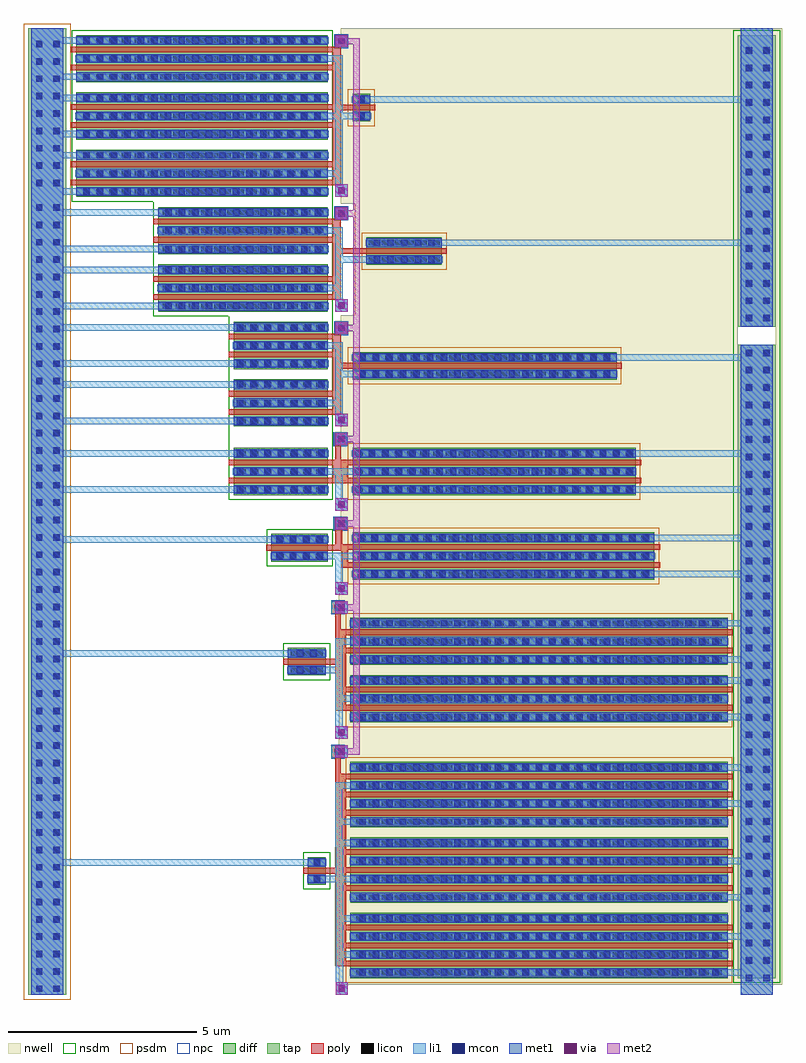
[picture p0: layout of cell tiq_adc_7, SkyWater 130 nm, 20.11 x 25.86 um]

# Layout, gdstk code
from math import pi, radians
import gdstk
lib = gdstk.Library(unit=1e-6, precision=1e-09)
def R(c, l, rs):  # rectangles x0, y0, x1, y1
    for r in rs: c.add(gdstk.rectangle(r[:2], r[2:], *l))
def A(c, l, x, y, w, h, nx, ny, dx, dy):  # array of equal rectangles
    R(c, l, [(x+i*dx, y+j*dy, x+i*dx+w, y+j*dy+h) for i in range(nx) for j in range(ny)])
nwell = (64, 20)
diff = (65, 20)
tap = (65, 44)
poly = (66, 20)
licon = (66, 44)
li1 = (67, 20)
mcon = (67, 44)
met1 = (68, 20)
via = (68, 44)
met2 = (69, 20)
nsdm = (93, 44)
psdm = (94, 20)
npc = (95, 20)

sky130_fd_pr__pfet_01v8_ = lib.new_cell('sky130_fd_pr__pfet_01v8_WGHLR5')
R(sky130_fd_pr__pfet_01v8_, nwell, [(-1.045,-5.31,1.045,5.31)])
R(sky130_fd_pr__pfet_01v8_, diff, [(-0.865,-5,0.865,5)])
A(sky130_fd_pr__pfet_01v8_, poly, -0.555, -5.13, 0.15, 10.26, 3, 1, 0.48, 0)
R(sky130_fd_pr__pfet_01v8_, poly, [(-0.555,-5.28,0.555,-5.13)])
A(sky130_fd_pr__pfet_01v8_, licon, -0.805, -4.845, 0.17, 0.17, 4, 29, 0.48, 0.34)
A(sky130_fd_pr__pfet_01v8_, li1, -0.805, -5.02, 0.17, 10.04, 4, 1, 0.48, 0)
A(sky130_fd_pr__pfet_01v8_, mcon, -0.805, -4.765, 0.17, 0.17, 4, 27, 0.48, 0.36)
A(sky130_fd_pr__pfet_01v8_, met1, -0.835, -5, 0.23, 10, 4, 1, 0.48, 0)
R(sky130_fd_pr__pfet_01v8_, psdm, [(-0.99,-5.125,0.99,5.125)])

sky130_fd_pr__nfet_01v8_ = lib.new_cell('sky130_fd_pr__nfet_01v8_PD6K7A')
R(sky130_fd_pr__nfet_01v8_, diff, [(-0.365,-0.235,0.365,0.235)])
R(sky130_fd_pr__nfet_01v8_, poly, [(-0.075,-0.365,0.075,0.365)])
R(sky130_fd_pr__nfet_01v8_, licon, [(-0.305,-0.085,-0.135,0.085), (0.135,-0.085,0.305,0.085)])
R(sky130_fd_pr__nfet_01v8_, li1, [(-0.305,-0.255,-0.135,0.255), (0.135,-0.255,0.305,0.255)])
R(sky130_fd_pr__nfet_01v8_, mcon, [(-0.305,-0.085,-0.135,0.085), (0.135,-0.085,0.305,0.085)])
R(sky130_fd_pr__nfet_01v8_, met1, [(-0.335,-0.235,-0.105,0.235), (0.105,-0.235,0.335,0.235)])
R(sky130_fd_pr__nfet_01v8_, nsdm, [(-0.49,-0.36,0.49,0.36)])

inverter_p90_n0o47 = lib.new_cell('inverter_p90_n0o47')
R(inverter_p90_n0o47, nwell, [(-2.96,0.99,-2.88,1.08), (-2.46,11.27,-2.29,11.43), (-1.5,11.27,-1.33,11.43), (0.02,11.27,0.19,11.43), (0.98,11.27,1.15,11.43), (2.02,11.27,2.19,11.43), (2.98,11.27,3.15,11.43), (-2.56,11.43,3.24,11.56), (-2.7,11.56,3.39,12.7)])
R(inverter_p90_n0o47, tap, [(-3.19,-7.28,3.65,-6.28), (-2.52,11.52,3.21,12.52)])
R(inverter_p90_n0o47, poly, [(0.29,0.73,0.44,0.85), (-2.96,0.76,-2.63,0.85), (-2.96,0.85,2.9,0.97), (-2.96,0.97,-1.97,1), (-1.1,0.97,-0.21,1.12), (0.9,0.97,1.79,1.12), (-2.96,1,-2.63,1.09)])
A(inverter_p90_n0o47, licon, -3.035, -7.075, 0.17, 0.17, 15, 2, 0.46, 0.46)
A(inverter_p90_n0o47, licon, -2.405, 11.735, 0.17, 0.17, 12, 2, 0.46, 0.46)
R(inverter_p90_n0o47, licon, [(-2.88,0.84,-2.71,1.01)])
R(inverter_p90_n0o47, li1, [(-3.19,-7.2,3.65,-6.36), (0.06,-6.36,0.23,0.11), (0.5,0.62,0.67,0.86), (-2.96,0.76,-2.63,1.18), (-1.98,0.85,-0.27,0.86), (-1.98,0.86,3.65,1.04), (-1.98,1.04,-1.81,1.23), (-1.02,1.04,-0.85,1.23), (-0.46,1.04,3.65,1.06), (-0.46,1.06,-0.29,1.23), (0.5,1.06,0.67,1.23), (1.54,1.06,1.71,1.23), (2.5,1.06,2.67,1.23), (3.32,1.06,3.65,1.19), (-2.46,11.27,-2.29,11.59), (-1.5,11.27,-1.33,11.59), (0.02,11.27,0.19,11.59), (0.98,11.27,1.15,11.59), (2.02,11.27,2.19,11.59), (2.98,11.27,3.15,11.59), (-2.96,11.59,3.65,12.45)])
A(inverter_p90_n0o47, mcon, -3.035, -7.075, 0.17, 0.17, 15, 2, 0.46, 0.46)
A(inverter_p90_n0o47, mcon, -2.865, 11.735, 0.17, 0.17, 14, 2, 0.46, 0.46)
R(inverter_p90_n0o47, mcon, [(-2.88,0.93,-2.71,1.1), (3.4,0.94,3.57,1.11)])
R(inverter_p90_n0o47, met1, [(-3.19,-7.2,3.65,-6.36), (-2.96,0.85,-2.63,1.18), (3.32,0.86,3.65,1.19), (-2.96,11.59,3.65,12.45)])
R(inverter_p90_n0o47, nsdm, [(-2.645,11.395,3.335,12.645)])
R(inverter_p90_n0o47, psdm, [(-3.315,-7.405,3.775,-6.155), (-0.665,1.125,-0.645,11.375), (1.335,1.125,1.355,11.375)])
R(inverter_p90_n0o47, npc, [(-2.98,0.74,-2.61,1.11)])
inverter_p90_n0o47.add(gdstk.Reference(sky130_fd_pr__pfet_01v8_, (2.345,6.25)))
inverter_p90_n0o47.add(gdstk.Reference(sky130_fd_pr__pfet_01v8_, (0.345,6.25)))
inverter_p90_n0o47.add(gdstk.Reference(sky130_fd_pr__pfet_01v8_, (-1.655,6.25)))
inverter_p90_n0o47.add(gdstk.Reference(sky130_fd_pr__nfet_01v8_, (0.365,0.365)))

c_sky130_fd_pr__pfet_01v8_ = lib.new_cell('sky130_fd_pr__pfet_01v8_WELYR5')
R(c_sky130_fd_pr__pfet_01v8_, nwell, [(-0.805,-5.31,0.805,5.31)])
R(c_sky130_fd_pr__pfet_01v8_, diff, [(-0.625,-5,0.625,5)])
R(c_sky130_fd_pr__pfet_01v8_, poly, [(-0.315,-5.28,0.315,-5.13), (-0.315,-5.13,-0.165,5.13), (0.165,-5.13,0.315,5.13)])
A(c_sky130_fd_pr__pfet_01v8_, licon, -0.565, -4.845, 0.17, 0.17, 3, 29, 0.48, 0.34)
A(c_sky130_fd_pr__pfet_01v8_, li1, -0.565, -5.02, 0.17, 10.04, 3, 1, 0.48, 0)
A(c_sky130_fd_pr__pfet_01v8_, mcon, -0.565, -4.765, 0.17, 0.17, 3, 27, 0.48, 0.36)
A(c_sky130_fd_pr__pfet_01v8_, met1, -0.595, -5, 0.23, 10, 3, 1, 0.48, 0)
R(c_sky130_fd_pr__pfet_01v8_, psdm, [(-0.75,-5.125,0.75,5.125)])

c_sky130_fd_pr__nfet_01v8_ = lib.new_cell('sky130_fd_pr__nfet_01v8_QDUU3W')
R(c_sky130_fd_pr__nfet_01v8_, diff, [(-0.365,-0.5,0.365,0.5)])
R(c_sky130_fd_pr__nfet_01v8_, poly, [(-0.075,-0.63,0.075,0.63)])
A(c_sky130_fd_pr__nfet_01v8_, licon, -0.305, -0.425, 0.17, 0.17, 1, 3, 0, 0.34)
A(c_sky130_fd_pr__nfet_01v8_, licon, 0.135, -0.425, 0.17, 0.17, 1, 3, 0, 0.34)
R(c_sky130_fd_pr__nfet_01v8_, li1, [(-0.305,-0.52,-0.135,0.52), (0.135,-0.52,0.305,0.52)])
R(c_sky130_fd_pr__nfet_01v8_, mcon, [(-0.305,-0.265,-0.135,-0.095), (0.135,-0.265,0.305,-0.095), (-0.305,0.095,-0.135,0.265), (0.135,0.095,0.305,0.265)])
R(c_sky130_fd_pr__nfet_01v8_, met1, [(-0.335,-0.5,-0.105,0.5), (0.105,-0.5,0.335,0.5)])
R(c_sky130_fd_pr__nfet_01v8_, nsdm, [(-0.49,-0.625,0.49,0.625)])

inverter_p40_n1 = lib.new_cell('inverter_p40_n1')
R(inverter_p40_n1, nwell, [(0.14,1.5,1.03,1.65), (-1.24,1.51,-1.16,1.59), (2.33,1.51,2.41,1.59), (-0.74,11.8,-0.57,11.97), (0.22,11.8,0.39,11.97), (0.78,11.8,0.95,11.97), (1.74,11.8,1.91,11.97), (-0.98,11.97,2.15,12.05), (-0.74,12.05,-0.57,12.09), (0.22,12.05,0.39,12.09), (0.78,12.05,0.95,12.09), (1.74,12.05,1.91,12.09), (-0.98,12.09,2.15,13.23)])
R(inverter_p40_n1, tap, [(-1.24,-6.75,2.35,-5.75), (-0.8,12.05,1.97,13.05)])
R(inverter_p40_n1, poly, [(0.29,1.26,0.44,1.38), (-1.24,1.29,-0.91,1.38), (-1.24,1.38,1.66,1.5), (-1.24,1.5,1.03,1.53), (-1.24,1.53,-0.91,1.62), (0.14,1.53,1.03,1.65)])
A(inverter_p40_n1, licon, -1.175, -6.545, 0.17, 0.17, 8, 2, 0.46, 0.46)
A(inverter_p40_n1, licon, -0.545, 12.265, 0.17, 0.17, 6, 2, 0.46, 0.46)
R(inverter_p40_n1, licon, [(-1.16,1.37,-0.99,1.54)])
R(inverter_p40_n1, li1, [(-1.24,-6.67,2.35,-5.83), (0.06,-5.83,0.23,0.11), (0.5,1.15,0.67,1.38), (-1.24,1.29,-0.91,1.71), (-0.26,1.38,2.41,1.58), (-0.26,1.58,-0.09,1.84), (1.26,1.58,1.43,1.76), (2.08,1.58,2.41,1.71), (-0.74,11.8,-0.57,12.12), (0.22,11.8,0.39,12.12), (0.78,11.8,0.95,12.12), (1.74,11.8,1.91,12.12), (-1.24,12.12,2.58,12.98)])
A(inverter_p40_n1, mcon, -1.175, -6.545, 0.17, 0.17, 8, 2, 0.46, 0.46)
A(inverter_p40_n1, mcon, -1.005, 12.265, 0.17, 0.17, 7, 2, 0.46, 0.46)
R(inverter_p40_n1, mcon, [(-1.16,1.46,-0.99,1.63), (2.16,1.46,2.33,1.63)])
R(inverter_p40_n1, met1, [(-1.24,-6.67,2.35,-5.83), (-1.24,1.38,-0.91,1.71), (2.08,1.38,2.41,1.71), (-1.24,12.12,2.58,12.98)])
R(inverter_p40_n1, nsdm, [(-0.925,11.925,2.095,13.175)])
R(inverter_p40_n1, psdm, [(-1.365,-6.875,2.475,-5.625), (0.575,1.655,0.595,11.905)])
R(inverter_p40_n1, npc, [(-1.26,1.27,-0.89,1.64)])
inverter_p40_n1.add(gdstk.Reference(c_sky130_fd_pr__pfet_01v8_, (1.345,6.78)))
inverter_p40_n1.add(gdstk.Reference(c_sky130_fd_pr__pfet_01v8_, (-0.175,6.78)))
inverter_p40_n1.add(gdstk.Reference(c_sky130_fd_pr__nfet_01v8_, (0.365,0.63)))

c_sky130_fd_pr__pfet_01v8__ = lib.new_cell('sky130_fd_pr__pfet_01v8_N885V5')
R(c_sky130_fd_pr__pfet_01v8__, nwell, [(-0.805,-4.31,0.805,4.31)])
R(c_sky130_fd_pr__pfet_01v8__, diff, [(-0.625,-4,0.625,4)])
R(c_sky130_fd_pr__pfet_01v8__, poly, [(-0.315,-4.28,0.315,-4.13), (-0.315,-4.13,-0.165,4.15), (0.165,-4.13,0.315,4.15)])
A(c_sky130_fd_pr__pfet_01v8__, licon, -0.565, -3.825, 0.17, 0.17, 3, 23, 0.48, 0.34)
A(c_sky130_fd_pr__pfet_01v8__, li1, -0.565, -4.02, 0.17, 8.04, 3, 1, 0.48, 0)
A(c_sky130_fd_pr__pfet_01v8__, mcon, -0.565, -3.865, 0.17, 0.17, 3, 22, 0.48, 0.36)
A(c_sky130_fd_pr__pfet_01v8__, met1, -0.595, -4, 0.23, 8, 3, 1, 0.48, 0)
R(c_sky130_fd_pr__pfet_01v8__, psdm, [(-0.75,-4.125,0.75,4.125)])

c_sky130_fd_pr__nfet_01v8__ = lib.new_cell('sky130_fd_pr__nfet_01v8_PZUUQ8')
R(c_sky130_fd_pr__nfet_01v8__, diff, [(-0.365,-0.75,0.365,0.75)])
R(c_sky130_fd_pr__nfet_01v8__, poly, [(-0.075,-0.88,0.075,0.88)])
A(c_sky130_fd_pr__nfet_01v8__, licon, -0.305, -0.595, 0.17, 0.17, 1, 4, 0, 0.34)
A(c_sky130_fd_pr__nfet_01v8__, licon, 0.135, -0.595, 0.17, 0.17, 1, 4, 0, 0.34)
R(c_sky130_fd_pr__nfet_01v8__, li1, [(-0.305,-0.77,-0.135,0.77), (0.135,-0.77,0.305,0.77)])
A(c_sky130_fd_pr__nfet_01v8__, mcon, -0.305, -0.625, 0.17, 0.17, 1, 4, 0, 0.36)
A(c_sky130_fd_pr__nfet_01v8__, mcon, 0.135, -0.625, 0.17, 0.17, 1, 4, 0, 0.36)
R(c_sky130_fd_pr__nfet_01v8__, met1, [(-0.335,-0.75,-0.105,0.75), (0.105,-0.75,0.335,0.75)])
R(c_sky130_fd_pr__nfet_01v8__, nsdm, [(-0.49,-0.875,0.49,0.875)])

inverter_p16_n1o5 = lib.new_cell('inverter_p16_n1o5')
R(inverter_p16_n1o5, nwell, [(1.53,1.94,1.61,2.01), (0.02,10.3,0.19,10.54), (0.98,10.3,1.15,10.54), (-0.22,10.54,1.39,10.55), (0.02,10.55,0.19,10.58), (0.98,10.55,1.15,10.58), (-0.22,10.58,1.39,13.67)])
R(inverter_p16_n1o5, tap, [(-0.44,-6.31,1.61,-5.31), (-0.04,12.49,1.21,13.49)])
R(inverter_p16_n1o5, poly, [(0.29,1.76,0.44,1.82), (-0.44,1.79,-0.11,1.82), (-0.44,1.82,0.44,2.01), (-0.44,2.01,-0.11,2.12)])
A(inverter_p16_n1o5, licon, 0.005, -6.105, 0.17, 0.17, 4, 2, 0.46, 0.46)
R(inverter_p16_n1o5, licon, [(-0.36,1.87,-0.19,2.04), (0.175,12.705,0.345,12.875), (0.635,12.705,0.805,12.875), (0.175,13.165,0.345,13.335), (0.635,13.165,0.805,13.335)])
R(inverter_p16_n1o5, li1, [(-0.44,-6.23,1.61,-5.39), (0.06,-5.39,0.23,0.11), (0.5,1.65,0.67,1.82), (-0.44,1.79,-0.11,2.12), (0.5,1.82,1.61,2.02), (0.5,2.02,0.67,2.26), (1.28,2.02,1.61,2.15), (0.02,10.3,0.19,12.56), (0.98,10.3,1.15,12.56), (-0.22,12.56,1.39,13.42)])
A(inverter_p16_n1o5, mcon, 0.005, -6.105, 0.17, 0.17, 4, 2, 0.46, 0.46)
A(inverter_p16_n1o5, mcon, 0.175, 12.705, 0.17, 0.17, 3, 2, 0.46, 0.46)
R(inverter_p16_n1o5, mcon, [(-0.36,1.9,-0.19,2.07), (1.36,1.9,1.53,2.07)])
R(inverter_p16_n1o5, met1, [(-0.44,-6.23,1.61,-5.39), (-0.44,1.82,-0.11,2.15), (1.28,1.82,1.61,2.15), (-0.22,12.56,1.39,13.42)])
R(inverter_p16_n1o5, nsdm, [(-0.165,12.365,1.335,13.615)])
R(inverter_p16_n1o5, psdm, [(-0.565,-6.435,1.735,-5.185)])
R(inverter_p16_n1o5, npc, [(-0.46,1.77,-0.09,2.14)])
inverter_p16_n1o5.add(gdstk.Reference(c_sky130_fd_pr__pfet_01v8__, (0.585,6.28)))
inverter_p16_n1o5.add(gdstk.Reference(c_sky130_fd_pr__nfet_01v8__, (0.365,0.88)))

c_sky130_fd_pr__pfet_01v8___ = lib.new_cell('sky130_fd_pr__pfet_01v8_7QKTNL')
R(c_sky130_fd_pr__pfet_01v8___, nwell, [(-0.805,-4.06,0.805,4.06)])
R(c_sky130_fd_pr__pfet_01v8___, diff, [(-0.625,-3.75,0.625,3.75)])
R(c_sky130_fd_pr__pfet_01v8___, poly, [(-0.315,-4.03,0.315,-3.88), (-0.315,-3.88,-0.165,3.9), (0.165,-3.88,0.315,3.9)])
A(c_sky130_fd_pr__pfet_01v8___, licon, -0.565, -3.655, 0.17, 0.17, 3, 22, 0.48, 0.34)
A(c_sky130_fd_pr__pfet_01v8___, li1, -0.565, -3.77, 0.17, 7.54, 3, 1, 0.48, 0)
A(c_sky130_fd_pr__pfet_01v8___, mcon, -0.565, -3.685, 0.17, 0.17, 3, 21, 0.48, 0.36)
A(c_sky130_fd_pr__pfet_01v8___, met1, -0.595, -3.75, 0.23, 7.5, 3, 1, 0.48, 0)
R(c_sky130_fd_pr__pfet_01v8___, psdm, [(-0.75,-3.875,0.75,3.875)])

c_sky130_fd_pr__nfet_01v8___ = lib.new_cell('sky130_fd_pr__nfet_01v8_V2VUT3')
R(c_sky130_fd_pr__nfet_01v8___, diff, [(-0.625,-1.25,0.625,1.25)])
R(c_sky130_fd_pr__nfet_01v8___, poly, [(-0.315,-1.38,-0.165,1.38), (0.165,-1.38,0.315,1.38), (-0.315,1.38,0.315,1.53)])
A(c_sky130_fd_pr__nfet_01v8___, licon, -0.565, -1.105, 0.17, 0.17, 3, 7, 0.48, 0.34)
A(c_sky130_fd_pr__nfet_01v8___, li1, -0.565, -1.27, 0.17, 2.54, 3, 1, 0.48, 0)
A(c_sky130_fd_pr__nfet_01v8___, mcon, -0.565, -1.165, 0.17, 0.17, 3, 7, 0.48, 0.36)
A(c_sky130_fd_pr__nfet_01v8___, met1, -0.595, -1.25, 0.23, 2.5, 3, 1, 0.48, 0)
R(c_sky130_fd_pr__nfet_01v8___, nsdm, [(-0.75,-1.375,0.75,1.375)])

inverter_p15_n5 = lib.new_cell('inverter_p15_n5')
R(inverter_p15_n5, nwell, [(-0.4,3.28,1.67,14.98)])
R(inverter_p15_n5, tap, [(-0.41,-5,1.67,-4), (0,13.8,1.26,14.8)])
R(inverter_p15_n5, poly, [(-0.4,3.1,-0.07,3.13), (-0.4,3.13,0.31,3.22), (-0.4,3.22,0.94,3.28), (-0.4,3.28,-0.07,3.43), (0.31,3.28,0.94,3.31)])
A(inverter_p15_n5, licon, -0.015, -4.795, 0.17, 0.17, 4, 2, 0.46, 0.46)
R(inverter_p15_n5, licon, [(-0.32,3.18,-0.15,3.35), (0.155,14.015,0.325,14.185), (0.615,14.015,0.785,14.185), (0.155,14.475,0.325,14.645), (0.615,14.475,0.785,14.645)])
R(inverter_p15_n5, li1, [(-0.4,-4.92,1.67,-4.08), (0.06,-4.08,0.23,0.42), (1.02,-4.08,1.19,0.42), (0.54,2.96,0.71,3.13), (-0.4,3.1,-0.07,3.43), (0.54,3.13,1.67,3.33), (0.54,3.33,0.71,3.57), (1.34,3.33,1.67,3.46), (0.06,11.11,0.23,13.87), (1.02,11.11,1.19,13.87), (-0.4,13.87,1.67,14.73)])
A(inverter_p15_n5, mcon, -0.015, -4.795, 0.17, 0.17, 4, 2, 0.46, 0.46)
A(inverter_p15_n5, mcon, -0.305, 14.015, 0.17, 0.17, 4, 2, 0.46, 0.46)
R(inverter_p15_n5, mcon, [(-0.32,3.21,-0.15,3.38), (1.42,3.21,1.59,3.38)])
R(inverter_p15_n5, met1, [(-0.4,-4.92,1.67,-4.08), (-0.4,3.13,-0.07,3.46), (1.34,3.13,1.67,3.46), (-0.4,13.87,1.67,14.73)])
R(inverter_p15_n5, nsdm, [(-0.125,13.675,1.385,14.925)])
R(inverter_p15_n5, psdm, [(-0.535,-5.125,1.795,-3.875)])
R(inverter_p15_n5, npc, [(-0.42,3.08,-0.05,3.45)])
inverter_p15_n5.add(gdstk.Reference(c_sky130_fd_pr__pfet_01v8___, (0.625,7.34)))
inverter_p15_n5.add(gdstk.Reference(c_sky130_fd_pr__nfet_01v8___, (0.625,1.69)))

c_sky130_fd_pr__pfet_01v8____ = lib.new_cell('sky130_fd_pr__pfet_01v8_VGLYR5')
R(c_sky130_fd_pr__pfet_01v8____, nwell, [(-0.545,-3.81,0.545,3.81)])
R(c_sky130_fd_pr__pfet_01v8____, diff, [(-0.365,-3.5,0.365,3.5)])
R(c_sky130_fd_pr__pfet_01v8____, poly, [(-0.075,-3.63,0.075,3.63)])
A(c_sky130_fd_pr__pfet_01v8____, licon, -0.305, -3.315, 0.17, 0.17, 1, 20, 0, 0.34)
A(c_sky130_fd_pr__pfet_01v8____, licon, 0.135, -3.315, 0.17, 0.17, 1, 20, 0, 0.34)
R(c_sky130_fd_pr__pfet_01v8____, li1, [(-0.305,-3.52,-0.135,3.52), (0.135,-3.52,0.305,3.52)])
A(c_sky130_fd_pr__pfet_01v8____, mcon, -0.305, -3.325, 0.17, 0.17, 1, 19, 0, 0.36)
A(c_sky130_fd_pr__pfet_01v8____, mcon, 0.135, -3.325, 0.17, 0.17, 1, 19, 0, 0.36)
R(c_sky130_fd_pr__pfet_01v8____, met1, [(-0.335,-3.5,-0.105,3.5), (0.105,-3.5,0.335,3.5)])
R(c_sky130_fd_pr__pfet_01v8____, psdm, [(-0.49,-3.625,0.49,3.625)])

inverter_p7_n10 = lib.new_cell('inverter_p7_n10')
R(inverter_p7_n10, nwell, [(-0.18,3.28,2.95,10.86), (-0.18,10.86,2.94,13.8), (-0.18,13.8,0.13,14.8), (0.61,13.8,2.94,14.8), (-0.18,14.8,2.94,14.98)])
R(inverter_p7_n10, tap, [(0,-5,2.77,-4), (0,13.8,0.13,14.8), (0.61,13.8,2.77,14.8)])
R(inverter_p7_n10, poly, [(0.94,3.07,1.83,3.22), (0,3.13,0.33,3.22), (0,3.22,2.46,3.28), (0,3.28,0.33,3.46), (1.09,3.28,1.24,3.46)])
A(inverter_p7_n10, licon, 0.105, -4.795, 0.17, 0.17, 6, 2, 0.46, 0.46)
A(inverter_p7_n10, licon, 0.735, 14.015, 0.17, 0.17, 4, 2, 0.46, 0.46)
R(inverter_p7_n10, licon, [(0.08,3.21,0.25,3.38)])
R(inverter_p7_n10, li1, [(-0.18,-4.92,2.94,-4.08), (0.06,-4.08,0.23,0.42), (1.02,-4.08,1.19,0.42), (1.58,-4.08,1.75,0.42), (2.54,-4.08,2.71,0.42), (0.54,2.88,0.71,3.13), (2.06,2.96,2.23,3.13), (0,3.13,0.33,3.46), (0.54,3.13,2.77,3.33), (1.3,3.33,1.47,3.57), (2.44,3.33,2.77,3.46), (0.86,10.53,1.03,13.87), (-0.18,13.87,0.13,14.73), (0.61,13.87,2.95,14.73)])
A(inverter_p7_n10, mcon, 0.105, -4.795, 0.17, 0.17, 6, 2, 0.46, 0.46)
A(inverter_p7_n10, mcon, 0.735, 14.015, 0.17, 0.17, 5, 2, 0.46, 0.46)
R(inverter_p7_n10, mcon, [(0.08,3.21,0.25,3.38), (2.52,3.21,2.69,3.38)])
R(inverter_p7_n10, met1, [(-0.18,-4.92,2.94,-4.08), (0,3.13,0.33,3.46), (2.44,3.13,2.77,3.46), (-0.18,13.87,0.13,14.73), (0.61,13.87,2.95,14.73)])
R(inverter_p7_n10, nsdm, [(1.375,0.315,1.395,3.065), (-0.125,13.675,2.895,14.925)])
R(inverter_p7_n10, psdm, [(-0.125,-5.125,2.895,-3.875)])
R(inverter_p7_n10, npc, [(-0.02,3.11,0.35,3.48)])
inverter_p7_n10.add(gdstk.Reference(c_sky130_fd_pr__pfet_01v8____, (1.165,7.09)))
inverter_p7_n10.add(gdstk.Reference(c_sky130_fd_pr__nfet_01v8___, (2.145,1.69)))
inverter_p7_n10.add(gdstk.Reference(c_sky130_fd_pr__nfet_01v8___, (0.625,1.69)))

c_sky130_fd_pr__pfet_01v8_____ = lib.new_cell('sky130_fd_pr__pfet_01v8_UCB5V5')
R(c_sky130_fd_pr__pfet_01v8_____, nwell, [(-0.545,-1.31,0.545,1.31)])
R(c_sky130_fd_pr__pfet_01v8_____, diff, [(-0.365,-1,0.365,1)])
R(c_sky130_fd_pr__pfet_01v8_____, poly, [(-0.075,-1.13,0.075,1.13)])
A(c_sky130_fd_pr__pfet_01v8_____, licon, -0.305, -0.935, 0.17, 0.17, 1, 6, 0, 0.34)
A(c_sky130_fd_pr__pfet_01v8_____, licon, 0.135, -0.935, 0.17, 0.17, 1, 6, 0, 0.34)
R(c_sky130_fd_pr__pfet_01v8_____, li1, [(-0.305,-1.02,-0.135,1.02), (0.135,-1.02,0.305,1.02)])
A(c_sky130_fd_pr__pfet_01v8_____, mcon, -0.305, -0.805, 0.17, 0.17, 1, 5, 0, 0.36)
A(c_sky130_fd_pr__pfet_01v8_____, mcon, 0.135, -0.805, 0.17, 0.17, 1, 5, 0, 0.36)
R(c_sky130_fd_pr__pfet_01v8_____, met1, [(-0.335,-1,-0.105,1), (0.105,-1,0.335,1)])
R(c_sky130_fd_pr__pfet_01v8_____, psdm, [(-0.49,-1.125,0.49,1.125)])

c_sky130_fd_pr__nfet_01v8____ = lib.new_cell('sky130_fd_pr__nfet_01v8_QQ9VTX')
R(c_sky130_fd_pr__nfet_01v8____, diff, [(-0.625,-2.25,0.625,2.25)])
R(c_sky130_fd_pr__nfet_01v8____, poly, [(-0.315,-2.38,-0.165,2.38), (0.165,-2.38,0.315,2.38), (-0.315,2.38,0.315,2.53)])
A(c_sky130_fd_pr__nfet_01v8____, licon, -0.565, -2.125, 0.17, 0.17, 3, 13, 0.48, 0.34)
A(c_sky130_fd_pr__nfet_01v8____, li1, -0.565, -2.27, 0.17, 4.54, 3, 1, 0.48, 0)
A(c_sky130_fd_pr__nfet_01v8____, mcon, -0.565, -2.065, 0.17, 0.17, 3, 12, 0.48, 0.36)
A(c_sky130_fd_pr__nfet_01v8____, met1, -0.595, -2.25, 0.23, 4.5, 3, 1, 0.48, 0)
R(c_sky130_fd_pr__nfet_01v8____, nsdm, [(-0.75,-2.375,0.75,2.375)])

inverter_p2_n18 = lib.new_cell('inverter_p2_n18')
R(inverter_p2_n18, nwell, [(-0.18,5.65,2.95,8.23), (0.86,8.23,1.03,15.8), (0,15.8,2.77,15.87), (-0.18,15.87,2.95,16.73), (0,16.73,2.77,16.8)])
R(inverter_p2_n18, tap, [(0,-3,2.95,-2), (0,15.8,2.77,16.8)])
R(inverter_p2_n18, poly, [(0.94,5.07,1.83,5.22), (0,5.13,0.33,5.22), (0,5.22,2.46,5.28), (0,5.28,0.33,5.46), (1.09,5.28,1.24,5.83)])
A(inverter_p2_n18, licon, 0.385, -2.795, 0.17, 0.17, 6, 2, 0.46, 0.46)
A(inverter_p2_n18, licon, 0.095, 16.015, 0.17, 0.17, 6, 2, 0.46, 0.46)
R(inverter_p2_n18, licon, [(0.08,5.21,0.25,5.38)])
R(inverter_p2_n18, li1, [(0,-2.92,2.95,-2.08), (0.06,-2.08,0.23,0.42), (1.02,-2.08,1.19,0.42), (1.58,-2.08,1.75,0.42), (2.54,-2.08,2.71,0.42), (0.54,4.96,0.71,5.13), (2.06,4.96,2.23,5.13), (0,5.13,0.33,5.46), (0.54,5.13,2.77,5.33), (1.3,5.33,1.47,5.94), (2.44,5.33,2.77,5.46), (0.86,7.98,1.03,15.87), (-0.18,15.87,2.95,16.73)])
A(inverter_p2_n18, mcon, 0.385, -2.795, 0.17, 0.17, 6, 2, 0.46, 0.46)
A(inverter_p2_n18, mcon, 0.095, 16.015, 0.17, 0.17, 6, 2, 0.46, 0.46)
R(inverter_p2_n18, mcon, [(0.08,5.21,0.25,5.38), (2.52,5.21,2.69,5.38)])
R(inverter_p2_n18, met1, [(0,-2.92,2.95,-2.08), (0,5.13,0.33,5.46), (2.44,5.13,2.77,5.46), (-0.18,15.87,2.95,16.73)])
R(inverter_p2_n18, nsdm, [(1.375,0.315,1.395,5.065), (-0.125,15.675,2.895,16.925)])
R(inverter_p2_n18, psdm, [(-0.125,-3.125,3.075,-1.875)])
R(inverter_p2_n18, npc, [(-0.02,5.11,0.35,5.48)])
inverter_p2_n18.add(gdstk.Reference(c_sky130_fd_pr__pfet_01v8_____, (1.165,6.96)))
inverter_p2_n18.add(gdstk.Reference(c_sky130_fd_pr__nfet_01v8____, (2.145,2.69)))
inverter_p2_n18.add(gdstk.Reference(c_sky130_fd_pr__nfet_01v8____, (0.625,2.69)))

c_sky130_fd_pr__pfet_01v8______ = lib.new_cell('sky130_fd_pr__pfet_01v8_FCTDLW')
R(c_sky130_fd_pr__pfet_01v8______, nwell, [(-0.545,-0.545,0.545,0.545)])
R(c_sky130_fd_pr__pfet_01v8______, diff, [(-0.365,-0.235,0.365,0.235)])
R(c_sky130_fd_pr__pfet_01v8______, poly, [(-0.075,-0.365,0.075,0.365)])
R(c_sky130_fd_pr__pfet_01v8______, licon, [(-0.305,-0.085,-0.135,0.085), (0.135,-0.085,0.305,0.085)])
R(c_sky130_fd_pr__pfet_01v8______, li1, [(-0.305,-0.255,-0.135,0.255), (0.135,-0.255,0.305,0.255)])
R(c_sky130_fd_pr__pfet_01v8______, mcon, [(-0.305,-0.085,-0.135,0.085), (0.135,-0.085,0.305,0.085)])
R(c_sky130_fd_pr__pfet_01v8______, met1, [(-0.335,-0.235,-0.105,0.235), (0.105,-0.235,0.335,0.235)])
R(c_sky130_fd_pr__pfet_01v8______, psdm, [(-0.49,-0.36,0.49,0.36)])

c_sky130_fd_pr__nfet_01v8_____ = lib.new_cell('sky130_fd_pr__nfet_01v8_CTSNWR')
R(c_sky130_fd_pr__nfet_01v8_____, diff, [(-0.625,-3.335,0.625,3.335)])
R(c_sky130_fd_pr__nfet_01v8_____, poly, [(-0.315,-3.465,-0.165,3.465), (0.165,-3.465,0.315,3.465), (-0.315,3.465,0.315,3.615)])
A(c_sky130_fd_pr__nfet_01v8_____, licon, -0.565, -3.145, 0.17, 0.17, 3, 19, 0.48, 0.34)
A(c_sky130_fd_pr__nfet_01v8_____, li1, -0.565, -3.355, 0.17, 6.71, 3, 1, 0.48, 0)
A(c_sky130_fd_pr__nfet_01v8_____, mcon, -0.565, -3.145, 0.17, 0.17, 3, 18, 0.48, 0.36)
A(c_sky130_fd_pr__nfet_01v8_____, met1, -0.595, -3.335, 0.23, 6.67, 3, 1, 0.48, 0)
R(c_sky130_fd_pr__nfet_01v8_____, nsdm, [(-0.75,-3.46,0.75,3.46)])

inverter_p0o47_n40 = lib.new_cell('inverter_p0o47_n40')
R(inverter_p0o47_n40, nwell, [(-0.18,7.45,4.47,19.15)])
R(inverter_p0o47_n40, tap, [(-0.18,-0.83,4.47,0.17), (0,17.97,4.29,18.97)])
R(inverter_p0o47_n40, poly, [(0.94,7.24,1.83,7.3), (2.46,7.24,3.35,7.3), (0,7.3,3.98,7.45), (0,7.45,0.33,7.63), (1.85,7.45,2,7.63)])
A(inverter_p0o47_n40, licon, 0.155, -0.625, 0.17, 0.17, 9, 2, 0.46, 0.46)
A(inverter_p0o47_n40, licon, 0.325, 18.185, 0.17, 0.17, 9, 2, 0.46, 0.46)
R(inverter_p0o47_n40, licon, [(0.08,7.38,0.25,7.55)])
A(inverter_p0o47_n40, li1, 0.54, 7.13, 0.17, 0.17, 3, 1, 1.52, 0)
R(inverter_p0o47_n40, li1, [(-0.18,-0.75,4.47,0.09), (0.06,0.09,0.23,0.42), (1.02,0.09,1.19,0.42), (1.58,0.09,1.75,0.42), (2.54,0.09,2.71,0.42), (3.1,0.09,3.27,0.42), (4.06,0.09,4.23,0.42), (0,7.3,0.33,7.63), (0.54,7.3,4.29,7.5), (2.06,7.5,2.23,7.74), (3.96,7.5,4.29,7.63), (1.62,8.25,1.79,18.04), (-0.18,18.04,4.47,18.9)])
A(inverter_p0o47_n40, mcon, 0.155, -0.625, 0.17, 0.17, 9, 2, 0.46, 0.46)
A(inverter_p0o47_n40, mcon, 0.325, 18.185, 0.17, 0.17, 9, 2, 0.46, 0.46)
R(inverter_p0o47_n40, mcon, [(0.08,7.38,0.25,7.55), (4.04,7.38,4.21,7.55)])
R(inverter_p0o47_n40, met1, [(-0.18,-0.75,4.47,0.09), (0,7.3,0.33,7.63), (3.96,7.3,4.29,7.63), (-0.18,18.04,4.47,18.9)])
R(inverter_p0o47_n40, nsdm, [(1.375,0.315,1.395,7.235), (2.895,0.315,2.915,7.235), (-0.125,17.845,4.415,19.095)])
R(inverter_p0o47_n40, psdm, [(-0.305,-0.955,4.595,0.295)])
R(inverter_p0o47_n40, npc, [(-0.02,7.28,0.35,7.65)])
inverter_p0o47_n40.add(gdstk.Reference(c_sky130_fd_pr__pfet_01v8______, (1.925,7.995)))
inverter_p0o47_n40.add(gdstk.Reference(c_sky130_fd_pr__nfet_01v8_____, (3.665,3.775)))
inverter_p0o47_n40.add(gdstk.Reference(c_sky130_fd_pr__nfet_01v8_____, (2.145,3.775)))
inverter_p0o47_n40.add(gdstk.Reference(c_sky130_fd_pr__nfet_01v8_____, (0.625,3.775)))

tiq_adc_7 = lib.new_cell('tiq_adc_7')
R(tiq_adc_7, nwell, [(18.8,6.17,19.8,6.35), (8.22,6.35,19.98,7.04), (18.8,7.04,19.8,7.22), (18.8,9.99,19.8,10.17), (8.22,10.17,19.98,10.82), (18.8,10.82,19.8,11), (18.8,12.25,19.8,12.43), (8.28,12.43,19.98,12.82), (8.61,12.82,8.78,14.64), (18.8,12.82,19.8,13.23), (18.8,14.49,19.8,15.06), (19.01,15.08,19.19,15.26), (19.47,15.08,19.65,15.26), (18.8,17.83,19.8,18.01), (11.17,18.01,19.98,21.05), (18.8,21.05,19.8,21.15), (8.61,25.08,8.78,25.18)])
R(tiq_adc_7, tap, [(18.8,6.17,19.8,7.22), (18.8,9.99,19.8,11), (0,10.43,1,10.6), (19.01,11,19.19,11.12), (19.47,11,19.65,11.12), (18.8,12.25,19.8,13.23), (0.2,12.49,0.38,12.65), (0.66,12.49,0.84,12.65), (0,12.65,1,12.82), (19.01,13.24,19.19,13.42), (19.47,13.24,19.65,13.42), (18.8,14.49,19.8,15.06), (0.2,14.79,0.38,14.9), (0.66,14.79,0.84,14.9), (0,14.9,1,15.06), (19.01,15.08,19.19,15.26), (19.47,15.08,19.65,15.26), (0,17.83,1,17.92), (18.8,17.83,19.8,18.1), (0.2,20.77,0.38,20.87), (0.66,20.77,0.84,20.87), (0,20.87,1,20.96), (18.8,20.87,19.8,21.15)])
A(tiq_adc_7, licon, 19.015, 10.025, 0.17, 0.17, 1, 3, 0, 0.46)
A(tiq_adc_7, licon, 19.475, 10.025, 0.17, 0.17, 1, 3, 0, 0.46)
A(tiq_adc_7, licon, 19.015, 12.325, 0.17, 0.17, 1, 3, 0, 0.46)
A(tiq_adc_7, licon, 19.475, 12.325, 0.17, 0.17, 1, 3, 0, 0.46)
R(tiq_adc_7, licon, [(19.015,6.345,19.185,6.515), (19.475,6.345,19.645,6.515), (19.015,6.805,19.185,6.975), (19.475,6.805,19.645,6.975), (0.205,12.495,0.375,12.665), (0.665,12.495,0.835,12.665), (19.015,14.625,19.185,14.795), (19.475,14.625,19.645,14.795), (0.205,14.795,0.375,14.965), (0.665,14.795,0.835,14.965), (19.015,15.085,19.185,15.255), (19.475,15.085,19.645,15.255), (19.015,17.845,19.185,18.015), (19.475,17.845,19.645,18.015), (0.205,20.775,0.375,20.945), (0.665,20.775,0.835,20.945)])
R(tiq_adc_7, li1, [(19.01,6.34,19.19,6.52), (19.47,6.34,19.65,6.52), (19.01,6.8,19.19,6.98), (19.47,6.8,19.65,6.98), (19.01,10.02,19.19,10.2), (19.47,10.02,19.65,10.2), (0.08,10.43,0.92,10.6), (18.87,10.43,19.73,10.82), (19.01,10.94,19.19,11.12), (19.47,10.94,19.65,11.12), (19.01,12.32,19.19,12.43), (19.47,12.32,19.65,12.43), (18.87,12.43,19.73,12.82), (0.2,12.49,0.38,12.65), (0.66,12.49,0.84,12.65), (0.08,12.65,0.92,12.82), (19.01,12.82,19.19,12.96), (19.47,12.82,19.65,12.96), (19.01,13.24,19.19,13.42), (19.47,13.24,19.65,13.42), (19.01,14.62,19.19,14.8), (19.47,14.62,19.65,14.8), (0.2,14.79,0.38,14.97), (0.66,14.79,0.84,14.97), (19.01,15.08,19.19,15.26), (19.47,15.08,19.65,15.26), (19.01,17.84,19.19,18.02), (19.47,17.84,19.65,18.02), (0.2,20.77,0.38,20.87), (0.66,20.77,0.84,20.87), (0.08,20.87,0.92,20.96)])
R(tiq_adc_7, mcon, [(19.015,6.345,19.185,6.515), (19.015,6.805,19.185,6.975), (19.475,6.805,19.645,6.975), (19.015,10.485,19.185,10.655), (19.475,10.485,19.645,10.655), (19.015,12.325,19.185,12.495), (19.475,12.325,19.645,12.495), (0.205,12.495,0.375,12.665), (0.665,12.495,0.835,12.665), (19.015,12.785,19.185,12.955), (19.475,12.785,19.645,12.955), (19.015,14.625,19.185,14.795), (19.475,14.625,19.645,14.795), (0.205,14.795,0.375,14.965), (0.665,14.795,0.835,14.965), (19.015,15.085,19.185,15.255), (19.475,15.085,19.645,15.255), (19.015,17.845,19.185,18.015), (19.475,17.845,19.645,18.015), (0.205,20.775,0.375,20.945), (0.665,20.775,0.835,20.945)])
R(tiq_adc_7, met1, [(8.17,0.03,8.44,0.3), (8.16,6.31,8.43,6.58), (19.01,6.34,19.19,6.52), (19.01,6.8,19.19,6.98), (19.47,6.8,19.65,6.98), (8.16,6.81,8.43,7.08), (8.16,10.13,8.43,10.4), (0.08,10.43,0.92,10.6), (18.87,10.43,19.73,10.82), (8.16,10.63,8.43,10.9), (19.01,12.32,19.19,12.43), (19.47,12.32,19.65,12.43), (8.16,12.35,8.43,12.62), (18.87,12.43,19.73,12.82), (0.2,12.49,0.38,12.65), (0.66,12.49,0.84,12.65), (0.08,12.65,0.92,12.82), (19.01,12.82,19.19,12.96), (19.47,12.82,19.65,12.96), (8.16,12.85,8.43,13.12), (8.16,14.59,8.43,14.86), (19.01,14.62,19.19,14.8), (19.47,14.62,19.65,14.8), (0.2,14.79,0.38,14.97), (0.66,14.79,0.84,14.97), (19.01,15.08,19.19,15.26), (19.47,15.08,19.65,15.26), (8.16,15.09,8.43,15.36), (8.16,17.53,8.43,17.8), (19.01,17.84,19.19,18.02), (19.47,17.84,19.65,18.02), (8.16,18.13,8.43,18.4), (8.16,20.57,8.43,20.84), (0.2,20.77,0.38,20.87), (0.66,20.77,0.84,20.87), (0.08,20.87,0.92,20.96), (8.16,21.17,8.43,21.44), (8.16,25.13,8.43,25.4)])
R(tiq_adc_7, via, [(8.23,0.09,8.38,0.24), (8.22,6.37,8.37,6.52), (8.22,6.87,8.37,7.02), (8.22,10.19,8.37,10.34), (8.22,10.69,8.37,10.84), (8.22,12.41,8.37,12.56), (8.22,12.91,8.37,13.06), (8.22,14.65,8.37,14.8), (8.22,15.15,8.37,15.3), (8.22,17.59,8.37,17.74), (8.22,18.19,8.37,18.34), (8.22,20.63,8.37,20.78), (8.22,21.23,8.37,21.38), (8.22,25.19,8.37,25.34)])
A(tiq_adc_7, met2, 8.13, 15.06, 0.33, 0.33, 1, 3, 0, 3.04)
R(tiq_adc_7, met2, [(8.14,0,8.47,0.33), (8.13,6.28,8.46,6.36), (8.13,6.36,8.78,6.53), (8.13,6.53,8.46,6.61), (8.61,6.53,8.78,10.18), (8.13,6.78,8.46,7.11), (8.13,10.1,8.46,10.18), (8.13,10.18,8.78,10.35), (8.13,10.35,8.46,10.43), (8.61,10.35,8.78,12.4), (8.13,10.6,8.46,10.93), (8.13,12.32,8.46,12.4), (8.13,12.4,8.78,12.57), (8.13,12.57,8.46,12.65), (8.61,12.57,8.78,14.64), (8.13,12.82,8.46,13.15), (8.13,14.56,8.46,14.64), (8.13,14.64,8.78,14.81), (8.13,14.81,8.46,14.89), (8.61,14.81,8.78,17.58), (8.13,17.5,8.46,17.58), (8.13,17.58,8.78,17.75), (8.13,17.75,8.46,17.83), (8.61,17.75,8.78,20.62), (8.13,20.54,8.46,20.62), (8.13,20.62,8.78,20.79), (8.13,20.79,8.46,20.87), (8.61,20.79,8.78,25.18), (8.13,25.1,8.46,25.18), (8.13,25.18,8.78,25.35), (8.13,25.35,8.46,25.43)])
R(tiq_adc_7, nsdm, [(18.675,6.045,19.925,7.345), (18.675,9.865,19.925,11.125), (18.885,11.125,19.775,11.245), (18.675,12.125,19.925,13.355), (18.885,13.355,19.775,13.545), (18.675,14.365,19.925,15.185), (5.315,14.615,8.065,14.935), (18.885,15.185,19.775,15.385), (18.675,17.705,19.925,18.225), (5.315,17.955,8.065,17.975), (18.675,20.745,19.925,21.275), (3.315,20.995,8.065,21.015)])
R(tiq_adc_7, psdm, [(-0.125,10.305,1.125,10.725), (0.075,12.365,0.965,12.525), (-0.125,12.525,1.125,12.945), (0.075,14.665,0.965,14.775), (-0.125,14.775,1.125,15.185), (-0.125,17.705,1.125,18.045), (0.075,20.645,0.965,20.745), (-0.125,20.745,1.125,21.085)])
tiq_adc_7.add(gdstk.Reference(inverter_p90_n0o47, (7.28,3.65), rotation=3*pi/2))
tiq_adc_7.add(gdstk.Reference(inverter_p40_n1, (6.75,9.19), rotation=3*pi/2))
tiq_adc_7.add(gdstk.Reference(inverter_p16_n1o5, (6.31,12.21), rotation=3*pi/2))
tiq_adc_7.add(gdstk.Reference(inverter_p15_n5, (5,14.49), rotation=3*pi/2))
tiq_adc_7.add(gdstk.Reference(inverter_p7_n10, (5,17.83), rotation=3*pi/2))
tiq_adc_7.add(gdstk.Reference(inverter_p2_n18, (3,20.87), rotation=3*pi/2))
tiq_adc_7.add(gdstk.Reference(inverter_p0o47_n40, (0.83,25.43), rotation=3*pi/2))

lib.write_gds('tiq_adc_7.gds')
